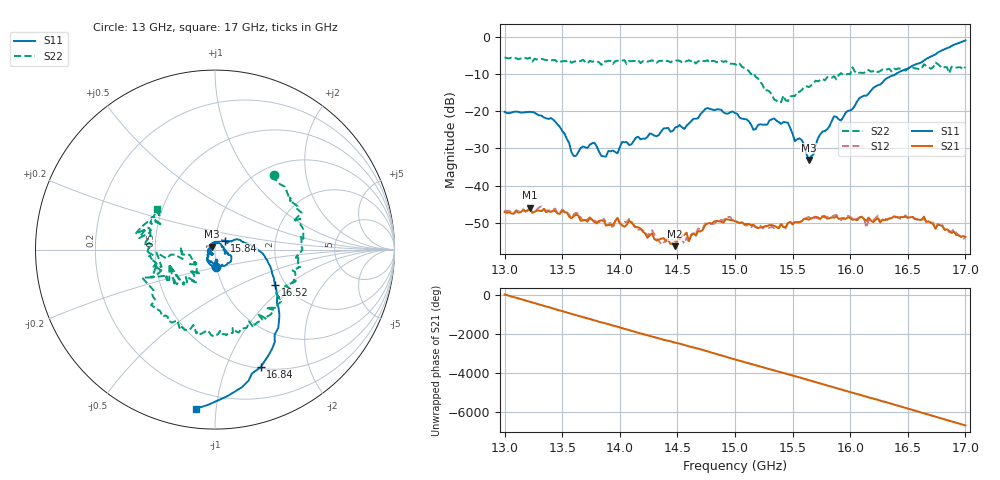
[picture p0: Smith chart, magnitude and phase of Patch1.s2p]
!Keysight Technologies,P9374A,MY57211810,A.19.30.04
!Date: Friday, May 09, 2025 08:53:15
!Correction: S11(Cdelta 2-Port  )
!S21(Cdelta 2-Port  )
!S12(Cdelta 2-Port  )
!S22(Cdelta 2-Port  )
!S2P File: Measurements: S11, S21, S12, S22:
# Hz S  dB  R 50
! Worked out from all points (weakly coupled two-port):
!   201 points, 13 GHz to 17 GHz, reference 50 ohm
!   highest |S21| = -45.94 dB at 13.22 GHz (marker M1); lowest = -56.3 dB at 14.48 GHz (marker M2)
!   lowest |S11| = -33.1 dB at 15.64 GHz (marker M3), VSWR 1.05, Z = 48.5 + j1.55 ohm
!   |S11| at or under -10 dB: start of sweep to 16.4 GHz
!   |S22| runs from -17.7 to -5.5 dB; largest |S21 - S12| = 0.00075
!   S11 on the Smith chart (normalised r, x): 13 GHz: 0.99, -0.20; 15.84 GHz: 1.11, +0.11; 16.52 GHz: 1.76, -0.82; 16.84 GHz: 0.51, -1.33; 17 GHz: 0.10, -0.88
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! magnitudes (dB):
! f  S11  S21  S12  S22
! 13 GHz  -20.2  -47.1  -46.6  -5.5
! 13.22 GHz  -20.2  -45.9  -46.1  -5.6
! 13.44 GHz  -22.8  -46.9  -46.2  -6.2
! 13.6 GHz  -32.0  -48.3  -47.7  -6.7
! 13.68 GHz  -29.5  -49.3  -49.5  -6.2
! 13.88 GHz  -32.2  -50.8  -49.8  -6.7
! 14.08 GHz  -29.1  -49.5  -48.9  -6.5
! 14.34 GHz  -26.4  -54.5  -54.9  -6.5
! 14.48 GHz  -24.4  -56.3  -55.0  -6.5
! 14.76 GHz  -19.1  -50.2  -50.3  -6.3
! 15 GHz  -20.5  -49.6  -49.4  -7.4
! 15.16 GHz  -25.0  -50.6  -50.8  -9.7
! 15.38 GHz  -22.9  -51.4  -51.4  -17.7
! 15.58 GHz  -27.8  -49.6  -49.6  -14.3
! 15.64 GHz  -33.1  -49.2  -48.4  -13.5
! 15.68 GHz  -31.7  -48.6  -48.8  -12.5
! 15.84 GHz  -22.7  -48.6  -48.4  -11.0
! 16.14 GHz  -15.8  -49.5  -51.3  -9.1
! 16.34 GHz  -10.8  -48.9  -48.9  -8.6
! 16.52 GHz  -8.2  -48.5  -48.4  -8.2
! 16.84 GHz  -3.1  -51.8  -51.7  -8.2
! 17 GHz  -1.0  -53.8  -54.3  -8.1
